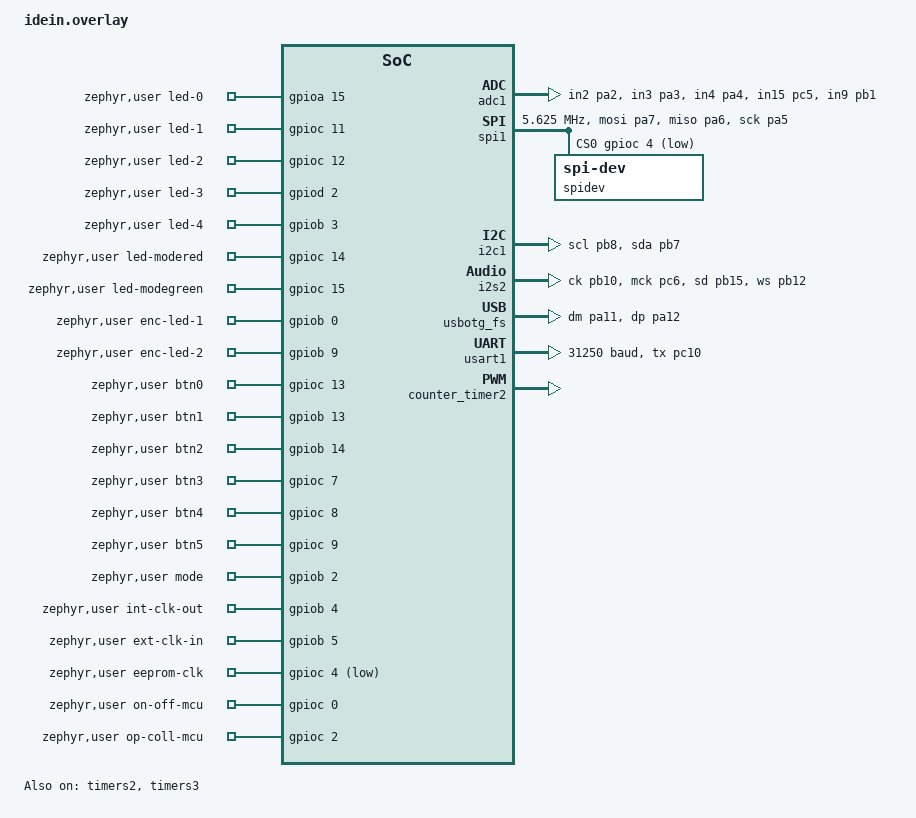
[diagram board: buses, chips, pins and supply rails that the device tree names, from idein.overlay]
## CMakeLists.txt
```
# SPDX-License-Identifier: Apache-2.0

cmake_minimum_required(VERSION 3.20.0)

# Uncomment if you must specify the board here
set(BOARD nucleo_f446re)

set(DTC_OVERLAY_FILE "${CMAKE_CURRENT_SOURCE_DIR}/idein.overlay")

find_package(Zephyr REQUIRED HINTS $ENV{ZEPHYR_BASE})

project(idein_mk_ii)

# Explicitly list source files
set(app_sources
    src/codec.c
    src/main.c
    src/midi.c
    src/idein.c
    src/sensor.c
    src/pot.c
    src/voice.c
    src/ui.c

    # Add other source files here
)

target_sources(app PRIVATE ${app_sources})

# Main Include Directory
target_include_directories(app PRIVATE include)
```

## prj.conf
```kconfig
#Development Configs

# CONFIG_CONSOLE=y
CONFIG_PRINTK=y
CONFIG_SERIAL=y
CONFIG_REGULATOR=y

#Peripheral Configs
CONFIG_GPIO=y
CONFIG_COUNTER=y
CONFIG_COUNTER_TIMER_STM32=y
CONFIG_ADC=y
# CONFIG_PWM=y
CONFIG_SENSOR=y
CONFIG_I2C=y
CONFIG_I2S=y

#Transmission Configs
CONFIG_SPI=y
CONFIG_SPI_ASYNC=y
# CONFIG_DAC=y
CONFIG_DMA=y
CONFIG_DMA_STM32=y

CONFIG_UART_STM32=y
CONFIG_UART_INTERRUPT_DRIVEN=y
CONFIG_UART_ASYNC_API=y

#Zephyr Specific Configs
CONFIG_MULTITHREADING=y
CONFIG_SMF=y
CONFIG_POLL=y
CONFIG_EVENTS=y

CONFIG_DEBUG=y
CONFIG_ASSERT=y

CONFIG_DEBUG_THREAD_INFO=y
```

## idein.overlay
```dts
/* USQ_ZRTOS OVERLAY */

#include <dt-bindings/gpio/gpio.h>
#include <dt-bindings/spi/spi.h>
#include <dt-bindings/timer/stm32-timer.h>
#include <dt-bindings/dma/stm32_dma.h>

/{
    zephyr,user {

        led-0-gpios         =   <&gpioa 15 GPIO_ACTIVE_HIGH>;
        led-1-gpios         =   <&gpioc 11 GPIO_ACTIVE_HIGH>;
        led-2-gpios         =   <&gpioc 12 GPIO_ACTIVE_HIGH>;
        led-3-gpios         =   <&gpiod 2 GPIO_ACTIVE_HIGH>;
        led-4-gpios         =   <&gpiob 3 GPIO_ACTIVE_HIGH>;
        led-modered-gpios    =   <&gpioc 14 GPIO_ACTIVE_HIGH>;
        led-modegreen-gpios  =   <&gpioc 15 GPIO_ACTIVE_HIGH>;
        enc-led-1-gpios     =   <&gpiob 0 GPIO_ACTIVE_HIGH>;
        enc-led-2-gpios     =   <&gpiob 9 GPIO_ACTIVE_HIGH>;
        
        btn0-gpios          =   <&gpioc 13 GPIO_PULL_DOWN>;
        btn1-gpios          =   <&gpiob 13 GPIO_PULL_DOWN>;
        btn2-gpios          =   <&gpiob 14 GPIO_PULL_DOWN>;
        btn3-gpios          =   <&gpioc 7 GPIO_PULL_DOWN>;
        btn4-gpios          =   <&gpioc 8 GPIO_PULL_DOWN>;
        btn5-gpios          =   <&gpioc 9 GPIO_PULL_DOWN>;
        mode-gpios          =   <&gpiob 2 GPIO_PULL_DOWN>;

        int-clk-out-gpios   =   <&gpiob 4 GPIO_ACTIVE_HIGH>;
        ext-clk-in-gpios    =   <&gpiob 5 GPIO_PULL_DOWN>;

        eeprom-clk-gpios    =   <&gpioc 4 GPIO_ACTIVE_LOW>;

        on-off-mcu-gpios    =   <&gpioc 0 GPIO_ACTIVE_HIGH>;
        op-coll-mcu-gpios   =   <&gpioc 2 GPIO_ACTIVE_HIGH>;
    };
 
};

/**************************************** 
 * Disable Nucleo pins for btn and led */

&leds {
    status = "disabled"; 
};

&user_button {
    status = "disabled";
};

/**************************************/




&clk_hse {
	/delete-property/ hse-bypass;
};

&pll {
	div-m = <4>;
	mul-n = <180>;
	div-p = <2>;
	div-q = <8>;
	clocks = <&clk_hse>;
	status = "okay";
};


&rcc {
	clocks = <&pll>;
	clock-frequency = <DT_FREQ_M(180)>;
	ahb-prescaler = <1>;
	apb1-prescaler = <4>;
	apb2-prescaler = <2>;
};


&adc1 {
    pinctrl-0 = <
        &adc1_in2_pa2
        &adc1_in3_pa3 
        &adc1_in4_pa4 
        &adc1_in15_pc5
        &adc1_in9_pb1 
    >;  
    pinctrl-names = "default";
    st,adc-prescaler = <2>;
    status = "okay";
};


&dac1 {
    pinctrl-0 = <&dac_out1_pa4 &dac_out2_pa5>;  
    pinctrl-names = "default";
    status = "disabled";  
};


&can1 {
    status = "disabled";
};

&can2 {
    status = "disabled";
};


&spi1 {
    // compatible = "st,stm32-spi";
    status = "okay"; 
    cs-gpios = < &gpioc 4 GPIO_ACTIVE_LOW >;
    pinctrl-0 = <&spi1_mosi_pa7 &spi1_miso_pa6 &spi1_sck_pa5>;
    pinctrl-names = "default";
    clock-frequency = <5625000>;
    label = "SPI1";
    spidev: spi-dev@0 {
        compatible = "zephyr,spi-dev";
        reg = <0>;
    };
};

&i2c1 {
    status = "okay";
    pinctrl-0 = <&i2c1_scl_pb8 &i2c1_sda_pb7>;
    pinctrl-names = "default";
};

&i2c2 {
    status = "disabled";
};

&i2c3 {
    status = "disabled";
};

&i2s2 {
    status = "okay";
    pinctrl-0 = <
        &i2s2_ck_pb10 
        &i2s2_mck_pc6 
        &i2s2_sd_pb15 
        &i2s2_ws_pb12 
    >;
    pinctrl-names = "default";
};

&usbotg_fs {
    pinctrl-0 = <
        &usb_otg_fs_dm_pa11 
        &usb_otg_fs_dp_pa12
    >;
    pinctrl-names = "default";
    status = "okay"; 
};

&usart1 {
    compatible = "st,stm32-uart";
    // dmas = <&dma2 2 2 0x400 0x03>, <&dma2 2 7 0x400 0x03>;
    // dma-names = "tx";
    pinctrl-0 = <&usart3_tx_pc10>;
    pinctrl-names = "default";
    current-speed = <31250>;
    status = "okay"; 
};

&dma1 {
    compatible = "st,stm32-dma-v1";
    status="okay";
};


&dma2 {
    compatible = "st,stm32-dma-v1";
    status="okay";
};



&timers1 {
    // status = "okay"; 
    // led_pwm: pwm {
    //     compatible = "st,stm32-pwm";
    //     status = "okay";
    //     pinctrl-0 = <&tim1_ch1_pa8>;
    //     pinctrl-names = "default";
    //     #pwm-cells = <3>;
    // };
};

&timers2 {
    status = "okay";
    qdec: qdec {
        status = "okay";
        pinctrl-0 = <&tim2_ch1_pa0 &tim2_ch2_pa1>;
        pinctrl-names = "default";
        st,input-polarity-inverted;
        st,input-filter-level = <FDIV32_N8>;
        st,counts-per-revolution = <16>;
    };
};

&timers3 {
    status = "okay";
    st,prescaler = <9599>;
    st,countermode = <0>;
    compatible = "st,stm32-timers";
    counter_timer2: counter {
        compatible = "st,stm32-counter";
        status = "okay";
    };
};
```

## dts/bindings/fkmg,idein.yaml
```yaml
description: FKMG Idein Device Tree Definition

compatible: "fkmg,idein"

properties:
  gen-gpios:
    type: phandle-array
    required: false
    description: Handles all GPIOs for Idein App
```

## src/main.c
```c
/* *****************************************************************************
 * Includes
 */

#include <zephyr/kernel.h>
#include <zephyr/drivers/gpio.h>
#include <zephyr/drivers/counter.h>
#include <zephyr/device.h>
#include <zephyr/devicetree.h>
#include <zephyr/drivers/clock_control/stm32_clock_control.h>

#include <assert.h>
#include <string.h>

#include "main.h"

#include "codec.h"
#include "codec/private/sm_evt.h"

#include "pot.h"
#include "pot/id.h"
#include "pot/private/sm_evt.h"

#include "idein.h"
#include "idein/private/sm_evt.h"

#include "midi.h"
#include "midi/private/sm_evt.h"

#include "sensor.h"
#include "sensor/private/sm_evt.h"

#include "voice.h"
#include "voice/private/sm_evt.h"

#include "ui.h"
#include "ui/private/sm_evt.h"


/* *****************************************************************************
 * Defines
 */

/* Error if took longer than this to initialize. */
#define WAIT_MAX_MSECS_FOR_INITIALIZATION 50


/* *****************************************************************************
 * Threads
 */

/* Declare threads, queues, and other data structures for pot instance. */
static struct k_thread pot_thread;
#define POT_THREAD_STACK_SZ_BYTES   512
K_THREAD_STACK_DEFINE(pot_thread_stack, POT_THREAD_STACK_SZ_BYTES);
#define MAX_QUEUED_POT_SM_EVTS  10
#define POT_SM_QUEUE_ALIGNMENT  4
K_MSGQ_DEFINE(pot_sm_evt_q, sizeof(struct Pot_SM_Evt),
        MAX_QUEUED_POT_SM_EVTS, POT_SM_QUEUE_ALIGNMENT);
static struct Pot_Instance pot_inst;

/* Declare threads, queues, and other data structures for Codec instance. */
static struct k_thread codec_thread;
#define CODEC_THREAD_STACK_SZ_BYTES   512
K_THREAD_STACK_DEFINE(codec_thread_stack, CODEC_THREAD_STACK_SZ_BYTES);
#define MAX_QUEUED_CODEC_SM_EVTS  10
#define CODEC_SM_QUEUE_ALIGNMENT  4
K_MSGQ_DEFINE(codec_sm_evt_q, sizeof(struct Codec_SM_Evt),
        MAX_QUEUED_CODEC_SM_EVTS, CODEC_SM_QUEUE_ALIGNMENT);
static struct Codec_Instance codec_inst;

/* Declare threads, queues, and other data structures for Idein instance. */
static struct k_thread idein_thread;
#define IDEIN_THREAD_STACK_SZ_BYTES   512
K_THREAD_STACK_DEFINE(idein_thread_stack, IDEIN_THREAD_STACK_SZ_BYTES);
#define MAX_QUEUED_IDEIN_SM_EVTS  10
#define IDEIN_SM_QUEUE_ALIGNMENT  4
K_MSGQ_DEFINE(idein_sm_evt_q, sizeof(struct Idein_SM_Evt),
        MAX_QUEUED_IDEIN_SM_EVTS, IDEIN_SM_QUEUE_ALIGNMENT);
static struct Idein_Instance idein_inst;


/* Declare threads, queues, and other data structures for MIDI / MIDI instance. */
static struct k_thread midi_thread;
#define MIDI_THREAD_STACK_SZ_BYTES   512
K_THREAD_STACK_DEFINE(midi_thread_stack, MIDI_THREAD_STACK_SZ_BYTES);
#define MAX_QUEUED_MIDI_SM_EVTS  10
#define MIDI_SM_QUEUE_ALIGNMENT  4
K_MSGQ_DEFINE(midi_sm_evt_q, sizeof(struct MIDI_SM_Evt),
        MAX_QUEUED_MIDI_SM_EVTS, MIDI_SM_QUEUE_ALIGNMENT);
static struct MIDI_Instance midi_inst;

/* Declare threads, queues, and other data structures for Voice / Voice instance. */
static struct k_thread voice_thread;
#define VOICE_THREAD_STACK_SZ_BYTES   512
K_THREAD_STACK_DEFINE(voice_thread_stack, VOICE_THREAD_STACK_SZ_BYTES);
#define MAX_QUEUED_VOICE_SM_EVTS  10
#define VOICE_SM_QUEUE_ALIGNMENT  4
K_MSGQ_DEFINE(voice_sm_evt_q, sizeof(struct Voice_SM_Evt),
        MAX_QUEUED_VOICE_SM_EVTS, VOICE_SM_QUEUE_ALIGNMENT);
static struct Voice_Instance voice_inst;


/* Declare threads, queues, and other data structures for Sensor instance. */
static struct k_thread ui_thread;
#define UI_THREAD_STACK_SZ_BYTES   512
K_THREAD_STACK_DEFINE(ui_thread_stack, UI_THREAD_STACK_SZ_BYTES);
#define MAX_QUEUED_UI_SM_EVTS  10
#define UI_SM_QUEUE_ALIGNMENT  4
K_MSGQ_DEFINE(ui_sm_evt_q, sizeof(struct UI_SM_Evt),
        MAX_QUEUED_UI_SM_EVTS, UI_SM_QUEUE_ALIGNMENT);
static struct UI_Instance ui_inst;


/* Declare threads, queues, and other data structures for Sensor instance. */
static struct k_thread sensor_thread;
#define SENSOR_THREAD_STACK_SZ_BYTES   512
K_THREAD_STACK_DEFINE(sensor_thread_stack, SENSOR_THREAD_STACK_SZ_BYTES);
#define MAX_QUEUED_SENSOR_SM_EVTS  10
#define SENSOR_SM_QUEUE_ALIGNMENT  4
K_MSGQ_DEFINE(sensor_sm_evt_q, sizeof(struct Sensor_SM_Evt),
        MAX_QUEUED_SENSOR_SM_EVTS, SENSOR_SM_QUEUE_ALIGNMENT);
static struct Sensor_Instance sensor_inst;

/* *****************************************************************************
 * Listeners
 */

#if 0
static struct Pot_Listener midi_rcvd_listener;
#endif

/* *****************************************************************************
 * Kernel Events
 *
 * Zephyr low-overhead kernel way for threads to wait on and post asynchronous
 * events.
 */

/* For handling asynchronous callbacks. */
K_EVENT_DEFINE(events);
#define EVT_FLAG_INSTANCE_INITIALIZED   (1 << 0)



/* *****************************************************************************
 * Private Functions.
 */

/* ********************
 * ON INSTANCE INITS
 * ********************/

static void on_pot_instance_initialized(struct Pot_Evt *p_evt)
{
    assert(p_evt->sig == k_Pot_Evt_Sig_Instance_Initialized);
    assert(p_evt->data.initd.p_inst == &pot_inst);
	k_event_post(&events, EVT_FLAG_INSTANCE_INITIALIZED);
}

static void on_codec_instance_initialized(struct Codec_Evt *p_evt)
{
    assert(p_evt->sig == k_Codec_Evt_Sig_Instance_Initialized);
    assert(p_evt->data.initd.p_inst == &codec_inst);
	k_event_post(&events, EVT_FLAG_INSTANCE_INITIALIZED);
}

static void on_idein_instance_initialized(struct Idein_Evt *p_evt)
{
    assert(p_evt->sig == k_Idein_Evt_Sig_Instance_Initialized);
    assert(p_evt->data.initd.p_inst == &idein_inst);
	k_event_post(&events, EVT_FLAG_INSTANCE_INITIALIZED);
}

static void on_midi_instance_initialized(struct MIDI_Evt *p_evt)
{
    assert(p_evt->sig == k_MIDI_Evt_Sig_Instance_Initialized);
    assert(p_evt->data.initd.p_inst == &midi_inst);
	k_event_post(&events, EVT_FLAG_INSTANCE_INITIALIZED);
}

static void on_sensor_instance_initialized(struct Sensor_Evt *p_evt)
{
    assert(p_evt->sig == k_Sensor_Evt_Sig_Instance_Initialized);
    assert(p_evt->data.initd.p_inst == &sensor_inst);
	k_event_post(&events, EVT_FLAG_INSTANCE_INITIALIZED);
}

static void on_voice_instance_initialized(struct Voice_Evt *p_evt)
{
    assert(p_evt->sig == k_Voice_Evt_Sig_Instance_Initialized);
    assert(p_evt->data.initd.p_inst == &voice_inst);
	k_event_post(&events, EVT_FLAG_INSTANCE_INITIALIZED);
}

static void on_ui_instance_initialized(struct UI_Evt *p_evt)
{
    assert(p_evt->sig == k_UI_Evt_Sig_Instance_Initialized);
    assert(p_evt->data.initd.p_inst == &ui_inst);
	k_event_post(&events, EVT_FLAG_INSTANCE_INITIALIZED);
}

static void wait_on_instance_initialized(void)
{
	uint32_t events_rcvd = k_event_wait(&events, EVT_FLAG_INSTANCE_INITIALIZED,
		true, K_MSEC(WAIT_MAX_MSECS_FOR_INITIALIZATION));
	assert(events_rcvd == EVT_FLAG_INSTANCE_INITIALIZED);
}


  /* ********************
 * ON BUTTON PRESS
 * ********************/


static void on_button_press(struct UI_Evt *p_evt)
{
    assert(p_evt->sig == k_UI_Evt_Sig_Button_Press);

    struct Codec_SM_Evt codec_evt = {
        .sig = k_Codec_SM_Evt_Sig_Trigger_Sine,
    }; 

    k_msgq_put(&codec_sm_evt_q, &codec_evt, K_NO_WAIT);
}


/* ********************
 * ON POT CHANGE
 * ********************/

static void on_pot_changed(struct Pot_Evt *p_evt)
{
    assert(p_evt->sig == k_Pot_Evt_Sig_Changed);

    struct Idein_SM_Evt_Sig_Pot_Value_Changed * p_changed = (struct Idein_SM_Evt_Sig_Pot_Value_Changed *)&p_evt->data.changed;

    uint32_t val[5];

    memcpy(val, p_changed->val, sizeof(p_changed->val));

    struct Idein_SM_Evt seq_evt = {
        .sig = k_Idein_SM_Evt_Sig_Pot_Value_Changed,
        .data.pot_changed = val
    }; 

    k_msgq_put(&idein_sm_evt_q, &seq_evt, K_NO_WAIT);
}


/* ********************
 * ON CLOCK EVENT
 * ********************/

static void on_clock_event(struct Idein_Evt *p_evt)
{
    assert(p_evt->sig == k_Idein_Evt_Sig_Clock_Event);

    struct Voice_SM_Evt voice_evt = {
        .sig = k_Voice_SM_Evt_Sig_New_Note_Event,
        .data.note.val = p_evt->data.note.note
    }; 

    k_msgq_put(&voice_sm_evt_q, &voice_evt, K_NO_WAIT);
}


/* ********************
 * SENSOR LISTENER CALLBACKS 
 * ********************/

static void on_sensor_read(struct Sensor_Evt *p_evt) 
{
    assert(p_evt->sig == k_Sensor_Evt_Sig_Read);

    struct Idein_SM_Evt_Sig_Read_New * p_read = (struct Idein_SM_Evt_Sig_Read_New *)&p_evt->data.read;

    uint32_t val[5];
    memcpy(val, p_read->read_values, sizeof(p_read->read_values));

    struct Idein_SM_Evt seq_evt = {
        .sig = k_Idein_SM_Evt_Sig_Sensor_Read,
        .data.sensor_read = val
    };
}

static void on_sensor_setup(struct Sensor_Evt *p_evt) 
{
    /* Read event data which gives us a bool of true or false, telling us if the sensor set up passed or failed*/
    struct Sensor_SM_Evt_Sensor_Setup_Complete * p_setup = (struct Sensor_SM_Evt_Sensor_Setup_Complete *)&p_evt->data.setup;

    /* Create an event with set up result to UI module */
    struct UI_SM_Evt evt = {
        .sig = k_UI_SM_Evt_Sig_Sensor_Setup_Complete,
        .data.pass = p_setup->setup
    };

    k_msgq_put(&ui_sm_evt_q, &evt, K_NO_WAIT);
}



/* *****************************************************************************
 * Public.
 */

   int main (void) {

    /* Instance: UI */
    struct UI_Instance_Cfg ui_inst_cfg = {
        .p_inst = &ui_inst,
        .task.sm.p_thread = &ui_thread,
        .task.sm.p_stack = ui_thread_stack,
        .task.sm.stack_sz = K_THREAD_STACK_SIZEOF(ui_thread_stack),
        .task.sm.prio = K_LOWEST_APPLICATION_THREAD_PRIO,
        .msgq.p_sm_evts = &ui_sm_evt_q,
        .cb = on_ui_instance_initialized,
    };
    UI_Init_Instance(&ui_inst_cfg);
    wait_on_instance_initialized();

    static struct UI_Listener ui_btn_lsnr;
    struct UI_Listener_Cfg ui_btn_lsnr_cfg = {
        .p_inst = &ui_inst,
        .p_lsnr = &ui_btn_lsnr, 
        .sig     = k_UI_Evt_Sig_Button_Press,
        .cb      = on_button_press
    };
    UI_Add_Listener(&ui_btn_lsnr_cfg);


    /* Instance: Pot */
    struct Pot_Instance_Cfg pot_inst_cfg = {
        .p_inst = &pot_inst,
        .task.sm.p_thread = &pot_thread,
        .task.sm.p_stack = pot_thread_stack,
        .task.sm.stack_sz = K_THREAD_STACK_SIZEOF(pot_thread_stack),
        .task.sm.prio = K_LOWEST_APPLICATION_THREAD_PRIO,
        .msgq.p_sm_evts = &pot_sm_evt_q,
        .cb = on_pot_instance_initialized,
    };
    Pot_Init_Instance(&pot_inst_cfg);
    wait_on_instance_initialized();


    static struct Pot_Listener pot_changed_lsnr;
    struct Pot_Listener_Cfg pot_lsnr_cfg = {
        .p_inst = &pot_inst,
        .p_lsnr = &pot_changed_lsnr, 
        .sig     = k_Pot_Evt_Sig_Changed,
        .cb      = on_pot_changed
    };
    Pot_Add_Listener(&pot_lsnr_cfg);


    /* Instance: Codec */
    struct Codec_Instance_Cfg codec_inst_cfg = {
        .p_inst = &codec_inst,
        .task.sm.p_thread = &codec_thread,
        .task.sm.p_stack = codec_thread_stack,
        .task.sm.stack_sz = K_THREAD_STACK_SIZEOF(codec_thread_stack),
        .task.sm.prio = K_LOWEST_APPLICATION_THREAD_PRIO,
        .msgq.p_sm_evts = &codec_sm_evt_q,
        .cb = on_codec_instance_initialized,
    };
    Codec_Init_Instance(&codec_inst_cfg);
    wait_on_instance_initialized();


     /* Instance: MIDI Module */
    struct MIDI_Instance_Cfg midi_inst_cfg = {
        .p_inst = &midi_inst,
        .task.sm.p_thread = &midi_thread,
        .task.sm.p_stack = midi_thread_stack,
        .task.sm.stack_sz = K_THREAD_STACK_SIZEOF(midi_thread_stack),
        .task.sm.prio = K_LOWEST_APPLICATION_THREAD_PRIO,
        .msgq.p_sm_evts = &midi_sm_evt_q,
        .cb = on_midi_instance_initialized,
    };
    MIDI_Init_Instance(&midi_inst_cfg);
    wait_on_instance_initialized();



    /* Instance: Light Sensor */
    struct Sensor_Instance_Cfg sensor_inst_cfg = {
        .p_inst = &sensor_inst,
        .task.sm.p_thread = &sensor_thread,
        .task.sm.p_stack = sensor_thread_stack,
        .task.sm.stack_sz = K_THREAD_STACK_SIZEOF(sensor_thread_stack),
        .task.sm.prio = K_LOWEST_APPLICATION_THREAD_PRIO,
        .msgq.p_sm_evts = &sensor_sm_evt_q,
        .cb = on_sensor_instance_initialized,
    };
    Sensor_Init_Instance(&sensor_inst_cfg);
    wait_on_instance_initialized();
    
    static struct Sensor_Listener sensor_setup_lsnr;
    struct Sensor_Listener_Cfg sensor_setup_lsnr_cfg = {
        .p_inst = &sensor_inst,
        .p_lsnr = &sensor_setup_lsnr, 
        .sig     = k_Sensor_Evt_Sig_Sensor_Setup_Complete,
        .cb      = on_sensor_setup
    };
    Sensor_Add_Listener(&sensor_setup_lsnr_cfg);

    static struct Sensor_Listener sensor_read_lsnr;
    struct Sensor_Listener_Cfg sensor_read_lsnr_cfg = {
        .p_inst = &sensor_inst,
        .p_lsnr = &sensor_read_lsnr, 
        .sig     = k_Sensor_Evt_Sig_Read,
        .cb      = on_sensor_read
    };
    Sensor_Add_Listener(&sensor_read_lsnr_cfg);

    /* Instance: Voice Engine */
    struct Voice_Instance_Cfg voice_inst_cfg = {
        .p_inst = &voice_inst,
        .task.sm.p_thread = &voice_thread,
        .task.sm.p_stack = voice_thread_stack,
        .task.sm.stack_sz = K_THREAD_STACK_SIZEOF(voice_thread_stack),
        .task.sm.prio = K_LOWEST_APPLICATION_THREAD_PRIO,
        .msgq.p_sm_evts = &voice_sm_evt_q,
        .cb = on_voice_instance_initialized,
    };
    Voice_Init_Instance(&voice_inst_cfg);
    wait_on_instance_initialized();


    /* Instance: Idein */
    struct Idein_Instance_Cfg idein_inst_cfg = {
        .p_inst = &idein_inst,
        .task.sm.p_thread = &idein_thread,
        .task.sm.p_stack = idein_thread_stack,
        .task.sm.stack_sz = K_THREAD_STACK_SIZEOF(idein_thread_stack),
        .task.sm.prio = K_LOWEST_APPLICATION_THREAD_PRIO,
        .msgq.p_sm_evts = &idein_sm_evt_q,
        .cb = on_idein_instance_initialized,
    };
    Idein_Init_Instance(&idein_inst_cfg);
    wait_on_instance_initialized();
    
    static struct Idein_Listener idein_clock_lsnr;
    struct Idein_Listener_Cfg idein_clock_lsnr_cfg = {
        .p_inst = &idein_inst,
        .p_lsnr = &idein_clock_lsnr, 
        .sig     = k_Idein_Evt_Sig_Clock_Event,
        .cb      = on_clock_event
    };
    Idein_Add_Listener(&idein_clock_lsnr_cfg);

    return 0;

};
```

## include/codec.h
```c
/*******************************************************************************
 * @brief Codec Thread.
 *
 * This module is the public api to interface with the Codec. 
 *
 * @example
 */

#ifndef FKMG_CODEC_H
#define FKMG_CODEC_H

/* In case C++ needs to use anything here */
#ifdef __cplusplus
extern “C” {
#endif

/* *****************************************************************************
 * Includes
 */

#include <zephyr/kernel.h>

#include "codec/instance.h"
#include "codec/instance_cfg.h"
#include "codec/listener.h"
#include "codec/listener_cfg.h"

/* *****************************************************************************
 * Public
 */

/* NOTE: all callbacks must be handled in a timely manner since the callbacks
 * occur on the thread of this engine. */

/**
 * Initialize an instance. An instance contains everything required to declare
 * and define all the data/memory for threads, queues, etc., that runs the the
 * engine. Even though it might be possible to have multiple instances,
 * typically only one is required.
 * @param[in] p_cfg Pointer to the filled-in configuration struct. See the
 * struct for details.
 */
void Codec_Init_Instance(struct Codec_Instance_Cfg * p_cfg);

void codec_write_new_value(uint8_t ch, uint32_t val); 

/**
 * Deinitialize an instance.
 * @param[in] p_dcfg Pointer to the filled-in deconfiguration struct. See the
 * struct for details.
 */
#if CONFIG_FKMG_CODEC_ALLOW_SHUTDOWN
void Codec_Deinit_Instance(struct Codec_Instance_Dcfg * p_dcfg);
#endif

/**
 * Add an event signal listener to an interface.
 * @param[in] p_cfg Pointer to the filled-in configuration struct. See the
 * struct for details.
 */
void Codec_Add_Listener(struct Codec_Listener_Cfg * p_cfg);

#if CONFIG_FKMG_CODEC_ALLOW_LISTENER_REMOVAL
void Codec_Remove_Listener(struct Codec_Listener * p_lsnr);
#endif

/* Public API functions to consider:
 *
 */
#ifdef __cplusplus
}
#endif

#endif /* FKMG_CODEC_H */
```

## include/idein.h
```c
/*******************************************************************************
 * @brief Idein interface.
 *
 * This module is the public api to interface with the main Idein. 
 * The Idein oversees pot changes, sends dac write commands and handles timing of steps. 
 *
 * @example
 */

#ifndef FKMG_IDEIN_H
#define FKMG_IDEIN_H

/* In case C++ needs to use anything here */
#ifdef __cplusplus
extern “C” {
#endif

/* *****************************************************************************
 * Includes
 */

#include <zephyr/kernel.h>

#include "idein/instance.h"
#include "idein/instance_cfg.h"
#include "idein/listener.h"
#include "idein/listener_cfg.h"

/* *****************************************************************************
 * Public
 */

/* NOTE: all callbacks must be handled in a timely manner since the callbacks
 * occur on the thread of this engine. */

/**
 * Initialize an instance. An instance contains everything required to declare
 * and define all the data/memory for threads, queues, etc., that runs the the
 * engine. Even though it might be possible to have multiple instances,
 * typically only one is required.
 * @param[in] p_cfg Pointer to the filled-in configuration struct. See the
 * struct for details.
 */
void Idein_Init_Instance(struct Idein_Instance_Cfg * p_cfg);

// static void on_pot_change_ext(struct Idein_Evt *p_evt); 
/**
 * Deinitialize an instance.
 * @param[in] p_dcfg Pointer to the filled-in deconfiguration struct. See the
 * struct for details.
 */
#if CONFIG_FKMG_IDEIN_ALLOW_SHUTDOWN
void Idein_Deinit_Instance(struct Idein_Instance_Dcfg * p_dcfg);
#endif

/**
 * Add an event signal listener to an interface.
 * @param[in] p_cfg Pointer to the filled-in configuration struct. See the
 * struct for details.
 */
void Idein_Add_Listener(struct Idein_Listener_Cfg * p_cfg);

#if CONFIG_FKMG_IDEIN_ALLOW_LISTENER_REMOVAL
void Idein_Remove_Listener(struct Idein_Listener * p_lsnr);
#endif


/* Public API functions to consider:
 *
 */
#ifdef __cplusplus
}
#endif

#endif /* FKMG_IDEIN_H */
```

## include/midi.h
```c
/*******************************************************************************
 * @brief MIDI interface.
 *
 * This module is the public api to interface with MIDI.
 *
 * @example
 */

#ifndef FKMG_MIDI_H
#define FKMG_MIDI_H

/* In case C++ needs to use anything here */
#ifdef __cplusplus
extern “C” {
#endif

/* *****************************************************************************
 * Includes
 */

#include <zephyr/kernel.h>

#include "midi/instance.h"
#include "midi/instance_cfg.h"
#include "midi/listener.h"
#include "midi/listener_cfg.h"

/* *****************************************************************************
 * Public
 */

/* NOTE: all callbacks must be handled in a timely manner since the callbacks
 * occur on the thread of this engine. */

/**
 * Initialize an instance. An instance contains everything required to declare
 * and define all the data/memory for threads, queues, etc., that runs the the
 * engine. Even though it might be possible to have multiple instances,
 * typically only one is required.
 * @param[in] p_cfg Pointer to the filled-in configuration struct. See the
 * struct for details.
 */
void MIDI_Init_Instance(struct MIDI_Instance_Cfg * p_cfg);

/**
 * Deinitialize an instance.
 * @param[in] p_dcfg Pointer to the filled-in deconfiguration struct. See the
 * struct for details.
 */
#if CONFIG_FKMG_MIDI_ALLOW_SHUTDOWN
void MIDI_Deinit_Instance(struct MIDI_Instance_Dcfg * p_dcfg);
#endif

/**
 * Add an event signal listener to an interface.
 * @param[in] p_cfg Pointer to the filled-in configuration struct. See the
 * struct for details.
 */
void MIDI_Add_Listener(struct MIDI_Listener_Cfg * p_cfg);

#if CONFIG_FKMG_MIDI_ALLOW_LISTENER_REMOVAL
void MIDI_Remove_Listener(struct MIDI_Listener * p_lsnr);
#endif

/* Public API functions to consider:
 *
 */
#ifdef __cplusplus
}
#endif

#endif /* FKMG_MIDI_H */
```

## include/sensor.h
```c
/*******************************************************************************
 * @brief Sensor Thread.
 *
 * This module is the public api to interface with the Sensor. 
 *
 * @example
 */

#ifndef FKMG_SENSOR_H
#define FKMG_SENSOR_H

/* In case C++ needs to use anything here */
#ifdef __cplusplus
extern “C” {
#endif

/* *****************************************************************************
 * Includes
 */

#include <zephyr/kernel.h>

#include "sensor/instance.h"
#include "sensor/instance_cfg.h"
#include "sensor/listener.h"
#include "sensor/listener_cfg.h"

/* *****************************************************************************
 * Public
 */

/* NOTE: all callbacks must be handled in a timely manner since the callbacks
 * occur on the thread of this engine. */

/**
 * Initialize an instance. An instance contains everything required to declare
 * and define all the data/memory for threads, queues, etc., that runs the the
 * engine. Even though it might be possible to have multiple instances,
 * typically only one is required.
 * @param[in] p_cfg Pointer to the filled-in configuration struct. See the
 * struct for details.
 */
void Sensor_Init_Instance(struct Sensor_Instance_Cfg * p_cfg);

void sensor_write_new_value(uint8_t ch, uint32_t val); 

/**
 * Deinitialize an instance.
 * @param[in] p_dcfg Pointer to the filled-in deconfiguration struct. See the
 * struct for details.
 */
#if CONFIG_FKMG_SENSOR_ALLOW_SHUTDOWN
void Sensor_Deinit_Instance(struct Sensor_Instance_Dcfg * p_dcfg);
#endif

/**
 * Add an event signal listener to an interface.
 * @param[in] p_cfg Pointer to the filled-in configuration struct. See the
 * struct for details.
 */
void Sensor_Add_Listener(struct Sensor_Listener_Cfg * p_cfg);

#if CONFIG_FKMG_SENSOR_ALLOW_LISTENER_REMOVAL
void Sensor_Remove_Listener(struct Sensor_Listener * p_lsnr);
#endif

/* Public API functions to consider:
 *
 */
#ifdef __cplusplus
}
#endif

#endif /* FKMG_SENSOR_H */
```

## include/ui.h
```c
/*******************************************************************************
 * @brief UI Thread.
 *
 * This module is the public api to interface with the UI. 
 *
 * @example
 */

#ifndef FKMG_UI_H
#define FKMG_UI_H

/* In case C++ needs to use anything here */
#ifdef __cplusplus
extern “C” {
#endif

/* *****************************************************************************
 * Includes
 */

#include <zephyr/kernel.h>

#include "ui/instance.h"
#include "ui/instance_cfg.h"
#include "ui/listener.h"
#include "ui/listener_cfg.h"

/* *****************************************************************************
 * Public
 */

/* NOTE: all callbacks must be handled in a timely manner since the callbacks
 * occur on the thread of this engine. */

/**
 * Initialize an instance. An instance contains everything required to declare
 * and define all the data/memory for threads, queues, etc., that runs the the
 * engine. Even though it might be possible to have multiple instances,
 * typically only one is required.
 * @param[in] p_cfg Pointer to the filled-in configuration struct. See the
 * struct for details.
 */
void UI_Init_Instance(struct UI_Instance_Cfg * p_cfg);


/**
 * Deinitialize an instance.
 * @param[in] p_dcfg Pointer to the filled-in deconfiguration struct. See the
 * struct for details.
 */
#if CONFIG_FKMG_UI_ALLOW_SHUTDOWN
void UI_Deinit_Instance(struct UI_Instance_Dcfg * p_dcfg);
#endif

/**
 * Add an event signal listener to an interface.
 * @param[in] p_cfg Pointer to the filled-in configuration struct. See the
 * struct for details.
 */
void UI_Add_Listener(struct UI_Listener_Cfg * p_cfg);

#if CONFIG_FKMG_UI_ALLOW_LISTENER_REMOVAL
void UI_Remove_Listener(struct UI_Listener * p_lsnr);
#endif

/* Public API functions to consider:
 *
 */
#ifdef __cplusplus
}
#endif

#endif /* FKMG_UI_H */
```

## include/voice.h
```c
/*******************************************************************************
 * @brief Voice interface.
 *
 * This module is the public api to interface with Voice.
 *
 * @example
 */

#ifndef FKMG_VOICE_H
#define FKMG_VOICE_H

/* In case C++ needs to use anything here */
#ifdef __cplusplus
extern “C” {
#endif

/* *****************************************************************************
 * Includes
 */

#include <zephyr/kernel.h>

#include "voice/instance.h"
#include "voice/instance_cfg.h"
#include "voice/listener.h"
#include "voice/listener_cfg.h"

/* *****************************************************************************
 * Public
 */

/* NOTE: all callbacks must be handled in a timely manner since the callbacks
 * occur on the thread of this engine. */

/**
 * Initialize an instance. An instance contains everything required to declare
 * and define all the data/memory for threads, queues, etc., that runs the the
 * engine. Even though it might be possible to have multiple instances,
 * typically only one is required.
 * @param[in] p_cfg Pointer to the filled-in configuration struct. See the
 * struct for details.
 */
void Voice_Init_Instance(struct Voice_Instance_Cfg * p_cfg);

/**
 * Deinitialize an instance.
 * @param[in] p_dcfg Pointer to the filled-in deconfiguration struct. See the
 * struct for details.
 */
#if CONFIG_FKMG_VOICE_ALLOW_SHUTDOWN
void Voice_Deinit_Instance(struct Voice_Instance_Dcfg * p_dcfg);
#endif

/**
 * Add an event signal listener to an interface.
 * @param[in] p_cfg Pointer to the filled-in configuration struct. See the
 * struct for details.
 */
void Voice_Add_Listener(struct Voice_Listener_Cfg * p_cfg);

#if CONFIG_FKMG_VOICE_ALLOW_LISTENER_REMOVAL
void Voice_Remove_Listener(struct Voice_Listener * p_lsnr);
#endif

/* Public API functions to consider:
 *
 */
#ifdef __cplusplus
}
#endif

#endif /* FKMG_VOICE_H */
```
